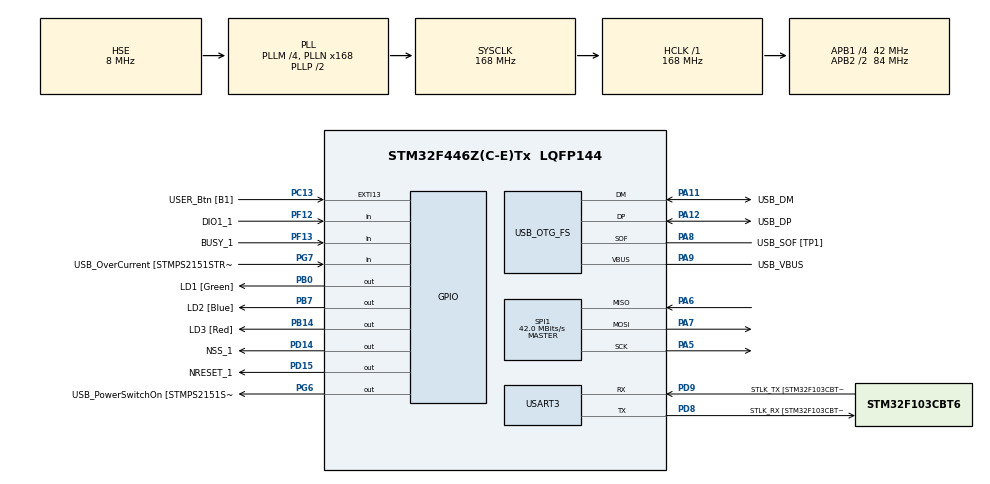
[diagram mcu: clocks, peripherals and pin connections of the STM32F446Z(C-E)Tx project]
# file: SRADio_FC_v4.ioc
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Mcu.Family=STM32F4
Mcu.Name=STM32F446Z(C-E)Tx
Mcu.Package=LQFP144
NVIC.PriorityGroup=NVIC_PRIORITYGROUP_4
PA10.GPIO_Label=USB_ID
PA10.Signal=USB_OTG_FS_ID
PA11.GPIO_Label=USB_DM
PA11.Mode=Device_Only
PA11.Signal=USB_OTG_FS_DM
PA12.GPIO_Label=USB_DP
PA12.Mode=Device_Only
PA12.Signal=USB_OTG_FS_DP
PA13.GPIO_Label=TMS
PA13.Mode=Serial_Wire
PA13.Signal=SYS_JTMS-SWDIO
PA14.GPIO_Label=TCK
PA14.Mode=Serial_Wire
PA14.Signal=SYS_JTCK-SWCLK
PA5.Mode=Full_Duplex_Master
PA5.Signal=SPI1_SCK
PA6.Mode=Full_Duplex_Master
PA6.Signal=SPI1_MISO
PA7.Mode=Full_Duplex_Master
PA7.Signal=SPI1_MOSI
PA8.GPIO_Label=USB_SOF [TP1]
PA8.Mode=Activate_SOF_FS
PA8.Signal=USB_OTG_FS_SOF
PA9.GPIO_Label=USB_VBUS
PA9.Mode=Activate_VBUS
PA9.Signal=USB_OTG_FS_VBUS
PB0.GPIO_Label=LD1 [Green]
PB0.Signal=GPIO_Output
PB14.GPIO_Label=LD3 [Red]
PB14.Signal=GPIO_Output
PB7.GPIO_Label=LD2 [Blue]
PB7.Signal=GPIO_Output
PC13.GPIO_Label=USER_Btn [B1]
PC13.Signal=GPXTI13
PC14-OSC32_IN.Mode=LSE-External-Oscillator
PC14-OSC32_IN.Signal=RCC_OSC32_IN
PC15-OSC32_OUT.Mode=LSE-External-Oscillator
PC15-OSC32_OUT.Signal=RCC_OSC32_OUT
PD14.GPIO_Label=NSS_1
PD14.Signal=GPIO_Output
PD15.GPIO_Label=NRESET_1
PD15.Signal=GPIO_Output
PD8.GPIO_Label=STLK_RX [STM32F103CBT6_PA3]
PD8.Mode=Asynchronous
PD8.Signal=USART3_TX
PD9.GPIO_Label=STLK_TX [STM32F103CBT6_PA2]
PD9.Mode=Asynchronous
PD9.Signal=USART3_RX
PF12.GPIO_Label=DIO1_1
PF12.Signal=GPIO_Input
PF13.GPIO_Label=BUSY_1
PF13.Signal=GPIO_Input
PG6.GPIO_Label=USB_PowerSwitchOn [STMPS2151STR_EN]
PG6.Signal=GPIO_Output
PG7.GPIO_Label=USB_OverCurrent [STMPS2151STR_FAULT]
PG7.Signal=GPIO_Input
PH0-OSC_IN.GPIO_Label=MCO [STM32F103CBT6_PA8]
PH0-OSC_IN.Mode=HSE-External-Clock-Source
PH0-OSC_IN.Signal=RCC_OSC_IN
PH1-OSC_OUT.Mode=HSE-External-Clock-Source
PH1-OSC_OUT.Signal=RCC_OSC_OUT
ProjectManager.HeapSize=0x200
ProjectManager.StackSize=0x400
ProjectManager.TargetToolchain=STM32CubeIDE
RCC.48MHZClocksFreq_Value=24000000
RCC.AHBFreq_Value=168000000
RCC.APB1CLKDivider=RCC_HCLK_DIV4
RCC.APB1Freq_Value=42000000
RCC.APB1TimFreq_Value=84000000
RCC.APB2CLKDivider=RCC_HCLK_DIV2
RCC.APB2Freq_Value=84000000
RCC.APB2TimFreq_Value=168000000
RCC.CortexFreq_Value=168000000
RCC.HCLKFreq_Value=168000000
RCC.HSE_VALUE=8000000
RCC.HSI_VALUE=16000000
RCC.PLLM=4
RCC.PLLMUL=RCC_PLL_MUL9
RCC.PLLN=168
RCC.PLLQ=7
RCC.PRESCALERUSB=RCC_USBCLKSOURCE_PLL_DIV1_5
RCC.SYSCLKFreq_VALUE=168000000
RCC.SYSCLKSource=RCC_SYSCLKSOURCE_PLLCLK
RCC.SYSCLKSourceVirtual=RCC_SYSCLKSOURCE_PLLCLK
RCC.USBFreq_Value=48000000
RCC.VCOOutputFreq_Value=336000000
SPI1.CalculateBaudRate=42.0 MBits/s
SPI1.Direction=SPI_DIRECTION_2LINES
SPI1.Mode=SPI_MODE_MASTER
SPI1.VirtualType=VM_MASTER
USART3.VirtualMode=VM_ASYNC
USB_OTG_FS.VirtualMode=Device_Only
board=NUCLEO-F446ZE

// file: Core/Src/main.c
/* USER CODE BEGIN Header */
/**
  ******************************************************************************
  * @file           : main.c
  * @brief          : Main program body
  ******************************************************************************
  * @attention
  *
  * Copyright (c) 2022 STMicroelectronics.
  * All rights reserved.
  *
  * This software is licensed under terms that can be found in the LICENSE file
  * in the root directory of this software component.
  * If no LICENSE file comes with this software, it is provided AS-IS.
  *
  ******************************************************************************
  */
/* USER CODE END Header */
#include "main.h"

/* USER CODE BEGIN Includes */
#include <stdio.h>
#include <string.h>
#include "sx126x.h"
/* USER CODE END Includes */

SPI_HandleTypeDef hspi1;

UART_HandleTypeDef huart3;

PCD_HandleTypeDef hpcd_USB_OTG_FS;

/* USER CODE BEGIN PV */
uint8_t tx_buffer[10];
uint8_t rx_buffer[110];
/* USER CODE END PV */

void SystemClock_Config(void);
static void MX_GPIO_Init(void);
static void MX_USART3_UART_Init(void);
static void MX_USB_OTG_FS_PCD_Init(void);
static void MX_SPI1_Init(void);
/* USER CODE BEGIN PFP */
void transmitBuffer(char buffer[]);
void transmitStatus(HAL_StatusTypeDef status);
void transmitIRQ(sx126x_irq_mask_t irq);
/* USER CODE END PFP */

int main(void)
{

  /* MCU Configuration--------------------------------------------------------*/

  /* Reset of all peripherals, Initializes the Flash interface and the Systick. */
  HAL_Init();

  /* Configure the system clock */
  SystemClock_Config();

  /* Initialize all configured peripherals */
  MX_GPIO_Init();
  MX_USART3_UART_Init();
  MX_USB_OTG_FS_PCD_Init();
  MX_SPI1_Init();
  /* USER CODE BEGIN 2 */
  set_hspi(hspi1);
  set_NSS_pin(NSS_1_GPIO_Port, NSS_1_Pin);
  set_BUSY_pin(BUSY_1_GPIO_Port, BUSY_1_Pin);
  set_NRESET_pin(NRESET_1_GPIO_Port, NRESET_1_Pin);
  set_DIO1_pin(DIO1_1_GPIO_Port, DIO1_1_Pin);
  Tx_setup();
  sprintf((char *)tx_buffer, "0123456789");
  /* USER CODE END 2 */

  /* Infinite loop */
  while (1)
  {

    /* USER CODE BEGIN 3 */
	TxProtocol(tx_buffer, 10);
	HAL_Delay(1000);
  }
  /* USER CODE END 3 */
}

void SystemClock_Config(void)
{
  RCC_OscInitTypeDef RCC_OscInitStruct = {0};
  RCC_ClkInitTypeDef RCC_ClkInitStruct = {0};

  /** Configure the main internal regulator output voltage
  */
  __HAL_RCC_PWR_CLK_ENABLE();
  __HAL_PWR_VOLTAGESCALING_CONFIG(PWR_REGULATOR_VOLTAGE_SCALE1);
  /** Initializes the RCC Oscillators according to the specified parameters
  * in the RCC_OscInitTypeDef structure.
  */
  RCC_OscInitStruct.OscillatorType = RCC_OSCILLATORTYPE_HSE;
  RCC_OscInitStruct.HSEState = RCC_HSE_BYPASS;
  RCC_OscInitStruct.PLL.PLLState = RCC_PLL_ON;
  RCC_OscInitStruct.PLL.PLLSource = RCC_PLLSOURCE_HSE;
  RCC_OscInitStruct.PLL.PLLM = 4;
  RCC_OscInitStruct.PLL.PLLN = 168;
  RCC_OscInitStruct.PLL.PLLP = RCC_PLLP_DIV2;
  RCC_OscInitStruct.PLL.PLLQ = 7;
  RCC_OscInitStruct.PLL.PLLR = 2;
  if (HAL_RCC_OscConfig(&RCC_OscInitStruct) != HAL_OK)
  {
    Error_Handler();
  }
  /** Initializes the CPU, AHB and APB buses clocks
  */
  RCC_ClkInitStruct.ClockType = RCC_CLOCKTYPE_HCLK|RCC_CLOCKTYPE_SYSCLK
                              |RCC_CLOCKTYPE_PCLK1|RCC_CLOCKTYPE_PCLK2;
  RCC_ClkInitStruct.SYSCLKSource = RCC_SYSCLKSOURCE_PLLCLK;
  RCC_ClkInitStruct.AHBCLKDivider = RCC_SYSCLK_DIV1;
  RCC_ClkInitStruct.APB1CLKDivider = RCC_HCLK_DIV4;
  RCC_ClkInitStruct.APB2CLKDivider = RCC_HCLK_DIV2;

  if (HAL_RCC_ClockConfig(&RCC_ClkInitStruct, FLASH_LATENCY_5) != HAL_OK)
  {
    Error_Handler();
  }
}

static void MX_SPI1_Init(void)
{

  /* SPI1 parameter configuration*/
  hspi1.Instance = SPI1;
  hspi1.Init.Mode = SPI_MODE_MASTER;
  hspi1.Init.Direction = SPI_DIRECTION_2LINES;
  hspi1.Init.DataSize = SPI_DATASIZE_8BIT;
  hspi1.Init.CLKPolarity = SPI_POLARITY_LOW;
  hspi1.Init.CLKPhase = SPI_PHASE_1EDGE;
  hspi1.Init.NSS = SPI_NSS_SOFT;
  hspi1.Init.BaudRatePrescaler = SPI_BAUDRATEPRESCALER_2;
  hspi1.Init.FirstBit = SPI_FIRSTBIT_MSB;
  hspi1.Init.TIMode = SPI_TIMODE_DISABLE;
  hspi1.Init.CRCCalculation = SPI_CRCCALCULATION_DISABLE;
  hspi1.Init.CRCPolynomial = 10;
  if (HAL_SPI_Init(&hspi1) != HAL_OK)
  {
    Error_Handler();
  }

}

static void MX_USART3_UART_Init(void)
{

  huart3.Instance = USART3;
  huart3.Init.BaudRate = 115200;
  huart3.Init.WordLength = UART_WORDLENGTH_8B;
  huart3.Init.StopBits = UART_STOPBITS_1;
  huart3.Init.Parity = UART_PARITY_NONE;
  huart3.Init.Mode = UART_MODE_TX_RX;
  huart3.Init.HwFlowCtl = UART_HWCONTROL_NONE;
  huart3.Init.OverSampling = UART_OVERSAMPLING_16;
  if (HAL_UART_Init(&huart3) != HAL_OK)
  {
    Error_Handler();
  }

}

static void MX_USB_OTG_FS_PCD_Init(void)
{

  hpcd_USB_OTG_FS.Instance = USB_OTG_FS;
  hpcd_USB_OTG_FS.Init.dev_endpoints = 6;
  hpcd_USB_OTG_FS.Init.speed = PCD_SPEED_FULL;
  hpcd_USB_OTG_FS.Init.dma_enable = DISABLE;
  hpcd_USB_OTG_FS.Init.phy_itface = PCD_PHY_EMBEDDED;
  hpcd_USB_OTG_FS.Init.Sof_enable = ENABLE;
  hpcd_USB_OTG_FS.Init.low_power_enable = DISABLE;
  hpcd_USB_OTG_FS.Init.lpm_enable = DISABLE;
  hpcd_USB_OTG_FS.Init.vbus_sensing_enable = ENABLE;
  hpcd_USB_OTG_FS.Init.use_dedicated_ep1 = DISABLE;
  if (HAL_PCD_Init(&hpcd_USB_OTG_FS) != HAL_OK)
  {
    Error_Handler();
  }

}

static void MX_GPIO_Init(void)
{
  GPIO_InitTypeDef GPIO_InitStruct = {0};

  /* GPIO Ports Clock Enable */
  __HAL_RCC_GPIOC_CLK_ENABLE();
  __HAL_RCC_GPIOH_CLK_ENABLE();
  __HAL_RCC_GPIOA_CLK_ENABLE();
  __HAL_RCC_GPIOB_CLK_ENABLE();
  __HAL_RCC_GPIOF_CLK_ENABLE();
  __HAL_RCC_GPIOD_CLK_ENABLE();
  __HAL_RCC_GPIOG_CLK_ENABLE();

  /*Configure GPIO pin Output Level */
  HAL_GPIO_WritePin(GPIOB, LD1_Pin|LD3_Pin|LD2_Pin, GPIO_PIN_RESET);

  /*Configure GPIO pin Output Level */
  HAL_GPIO_WritePin(GPIOD, NSS_1_Pin|NRESET_1_Pin, GPIO_PIN_RESET);

  /*Configure GPIO pin Output Level */
  HAL_GPIO_WritePin(USB_PowerSwitchOn_GPIO_Port, USB_PowerSwitchOn_Pin, GPIO_PIN_RESET);

  /*Configure GPIO pin : USER_Btn_Pin */
  GPIO_InitStruct.Pin = USER_Btn_Pin;
  GPIO_InitStruct.Mode = GPIO_MODE_IT_RISING;
  GPIO_InitStruct.Pull = GPIO_NOPULL;
  HAL_GPIO_Init(USER_Btn_GPIO_Port, &GPIO_InitStruct);

  /*Configure GPIO pins : LD1_Pin LD3_Pin LD2_Pin */
  GPIO_InitStruct.Pin = LD1_Pin|LD3_Pin|LD2_Pin;
  GPIO_InitStruct.Mode = GPIO_MODE_OUTPUT_PP;
  GPIO_InitStruct.Pull = GPIO_NOPULL;
  GPIO_InitStruct.Speed = GPIO_SPEED_FREQ_LOW;
  HAL_GPIO_Init(GPIOB, &GPIO_InitStruct);

  /*Configure GPIO pins : DIO1_1_Pin BUSY_1_Pin */
  GPIO_InitStruct.Pin = DIO1_1_Pin|BUSY_1_Pin;
  GPIO_InitStruct.Mode = GPIO_MODE_INPUT;
  GPIO_InitStruct.Pull = GPIO_NOPULL;
  HAL_GPIO_Init(GPIOF, &GPIO_InitStruct);

  /*Configure GPIO pins : NSS_1_Pin NRESET_1_Pin */
  GPIO_InitStruct.Pin = NSS_1_Pin|NRESET_1_Pin;
  GPIO_InitStruct.Mode = GPIO_MODE_OUTPUT_PP;
  GPIO_InitStruct.Pull = GPIO_NOPULL;
  GPIO_InitStruct.Speed = GPIO_SPEED_FREQ_LOW;
  HAL_GPIO_Init(GPIOD, &GPIO_InitStruct);

  /*Configure GPIO pin : USB_PowerSwitchOn_Pin */
  GPIO_InitStruct.Pin = USB_PowerSwitchOn_Pin;
  GPIO_InitStruct.Mode = GPIO_MODE_OUTPUT_PP;
  GPIO_InitStruct.Pull = GPIO_NOPULL;
  GPIO_InitStruct.Speed = GPIO_SPEED_FREQ_LOW;
  HAL_GPIO_Init(USB_PowerSwitchOn_GPIO_Port, &GPIO_InitStruct);

  /*Configure GPIO pin : USB_OverCurrent_Pin */
  GPIO_InitStruct.Pin = USB_OverCurrent_Pin;
  GPIO_InitStruct.Mode = GPIO_MODE_INPUT;
  GPIO_InitStruct.Pull = GPIO_NOPULL;
  HAL_GPIO_Init(USB_OverCurrent_GPIO_Port, &GPIO_InitStruct);

}

/* USER CODE BEGIN 4 */
void transmitBuffer(char buffer[]){
	uint8_t length = 0;
	while(buffer[length] != 0){
		length++;
	}
	HAL_UART_Transmit(&huart3, (uint8_t*)buffer, length, 100);
}

void transmitStatus(HAL_StatusTypeDef status){
	if(status == HAL_OK){
		HAL_UART_Transmit(&huart3, (uint8_t*)"Status: HAL_OK\n", 15, 100);
	} else if(status == HAL_ERROR){
		HAL_UART_Transmit(&huart3, (uint8_t*)"Status: HAL_ERROR\n", 18, 100);
	} else if(status == HAL_BUSY){
		HAL_UART_Transmit(&huart3, (uint8_t*)"Status: HAL_BUSY\n", 17, 100);
	} else if(status == HAL_TIMEOUT){
		HAL_UART_Transmit(&huart3, (uint8_t*)"Status: HAL_TIMEOUT\n", 20, 100);
	} else {
		HAL_UART_Transmit(&huart3, (uint8_t*)"Status: Unknown status Received\n", 32, 100);
	}
}

void transmitIRQ(sx126x_irq_mask_t irq){
	if(irq == SX126X_IRQ_TX_DONE){
		transmitBuffer("Tx Done\n");
	} else {
		transmitBuffer("Big Sad\n");
	}
}
/* USER CODE END 4 */

void Error_Handler(void)
{
  __disable_irq();
  while (1)
  {
  }
}
